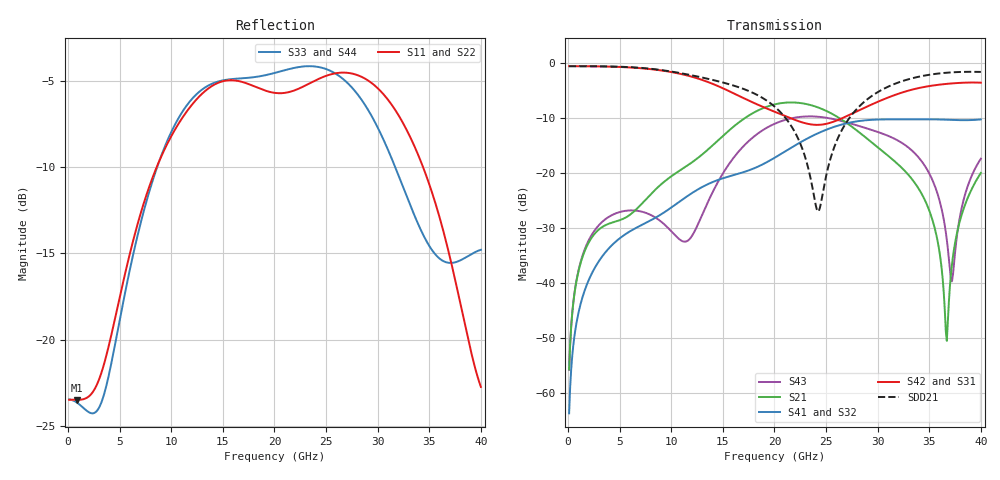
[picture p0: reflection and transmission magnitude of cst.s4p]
! E_s8_L1L3_p1000_oval_g2: pair L1→L3, pitch 1 mm, one oval antipad, 2 GND vias
! stackup: 8-layer 1.6 mm FR-4 (generic)
! ports: 1 P near, 2 N near, 3 P far, 4 N far
! CST Studio Suite 2025.5 Release from 2025-05-30, time domain (FIT, hexahedral, PBA), 162864 mesh cells, 41 s
! mesh: {'lpw': 20, 'lpb': 20, 'minstep': 0.0, 'ratio': 20}; ports: port 1 (face); port 2 (face); port 3 (face); port 4 (face)
! interpolated from CST's 1001 samples to the case grid
# Hz S RI R 50
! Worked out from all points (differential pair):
!   400 points, 100 MHz to 40 GHz, reference 50 ohm
!   strongest paths, dB at 100 MHz, 10.1 GHz, 20.1 GHz, 30.1 GHz, 40 GHz:
!     S42: -0.6, -1.7, -9.0, -7.0, -3.6
!     S31: -0.6, -1.7, -9.0, -7.0, -3.6
!     S41: -63.7, -26.2, -17.2, -10.3, -10.3
!     S32: -63.7, -26.2, -17.2, -10.3, -10.3
!     S21: -55.7, -20.5, -7.5, -15.5, -20.0
!     S43: -55.8, -30.8, -11.0, -12.6, -17.4
!   taken as a pair (ports 2,1 in; 4,3 out), SDD21 dB: -0.6, -1.6, -8.1, -5.2, -1.7
!   lowest |S11| = -23.5 dB at 900 MHz (marker M1), VSWR 1.14, Z = 43.9 + j1.29 ohm
!   |S11| at or under -10 dB: start of sweep to 8.584 GHz; 34.4 GHz to end of sweep
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1e8  -0.0669 0.00171  0.00105 0.00125  0.9317 -0.0345  0.00036 -0.000545
     0.00105 0.00125  -0.0669 0.00171  0.00036 -0.000545  0.9317 -0.0345
     0.9317 -0.0345  0.000361 -0.000545  -0.0671 0.00152  0.00101 0.00127
     0.000361 -0.000545  0.9317 -0.0345  0.00101 0.00127  -0.0671 0.00152
9e8  -0.0653 0.0146  0.00506 0.0103  0.8806 -0.3051  -0.00131 -0.0046
     0.00506 0.0103  -0.0653 0.0146  -0.00131 -0.0046  0.8806 -0.3051
     0.8806 -0.3051  -0.00131 -0.00461  -0.0643 0.0126  0.00498 0.0106
     -0.00131 -0.00461  0.8806 -0.3051  0.00498 0.0106  -0.0643 0.0126
8.1e9  0.0467 0.2864  0.0531 -0.0379  -0.8705 -0.0821  0.00243 0.0374
       0.0531 -0.0379  0.0467 0.2864  0.00243 0.0374  -0.8705 -0.0821
       -0.8705 -0.0821  0.00243 0.0374  -0.0527 0.2782  -0.00336 -0.0409
       0.00243 0.0374  -0.8705 -0.0821  -0.00336 -0.0409  -0.0527 0.2782
1.53e10  0.2393 -0.5102  -0.2257 -0.042  0.4978 0.2777  -0.0477 -0.0777
         -0.2257 -0.042  0.2393 -0.5103  -0.0477 -0.0777  0.4978 0.2777
         0.4978 0.2777  -0.0477 -0.0777  0.1171 -0.5542  -0.0984 0.0478
         -0.0477 -0.0776  0.4978 0.2777  -0.0984 0.0478  0.1171 -0.5542
2.52e10  0.2612 0.5228  0.0849 -0.3487  -0.1263 -0.2517  -0.1924 -0.1605
         0.0849 -0.3487  0.2612 0.5228  -0.1924 -0.1605  -0.1263 -0.2518
         -0.1263 -0.2517  -0.1924 -0.1605  0.5112 0.3244  -0.1314 -0.2862
         -0.1924 -0.1605  -0.1263 -0.2518  -0.1314 -0.2862  0.5112 0.3244
3.67e10  -0.1884 0.00907  -0.0018 0.00237  0.5757 0.2886  0.0181 -0.3035
         -0.0018 0.00238  -0.1883 0.00908  0.0181 -0.3035  0.5757 0.2885
         0.5757 0.2886  0.0181 -0.3035  -0.0956 0.1374  0.00861 -0.0231
         0.0181 -0.3035  0.5758 0.2885  0.00861 -0.0231  -0.0956 0.1373
4e10  0.0169 0.0709  -0.0595 0.0804  0.4488 -0.4839  -0.2866 -0.1071
      -0.0595 0.0804  0.0169 0.0709  -0.2866 -0.1071  0.4488 -0.4839
      0.4487 -0.4839  -0.2866 -0.1071  0.0836 0.1619  0.1344 0.00539
      -0.2866 -0.1071  0.4487 -0.4839  0.1344 0.00539  0.0835 0.1619
